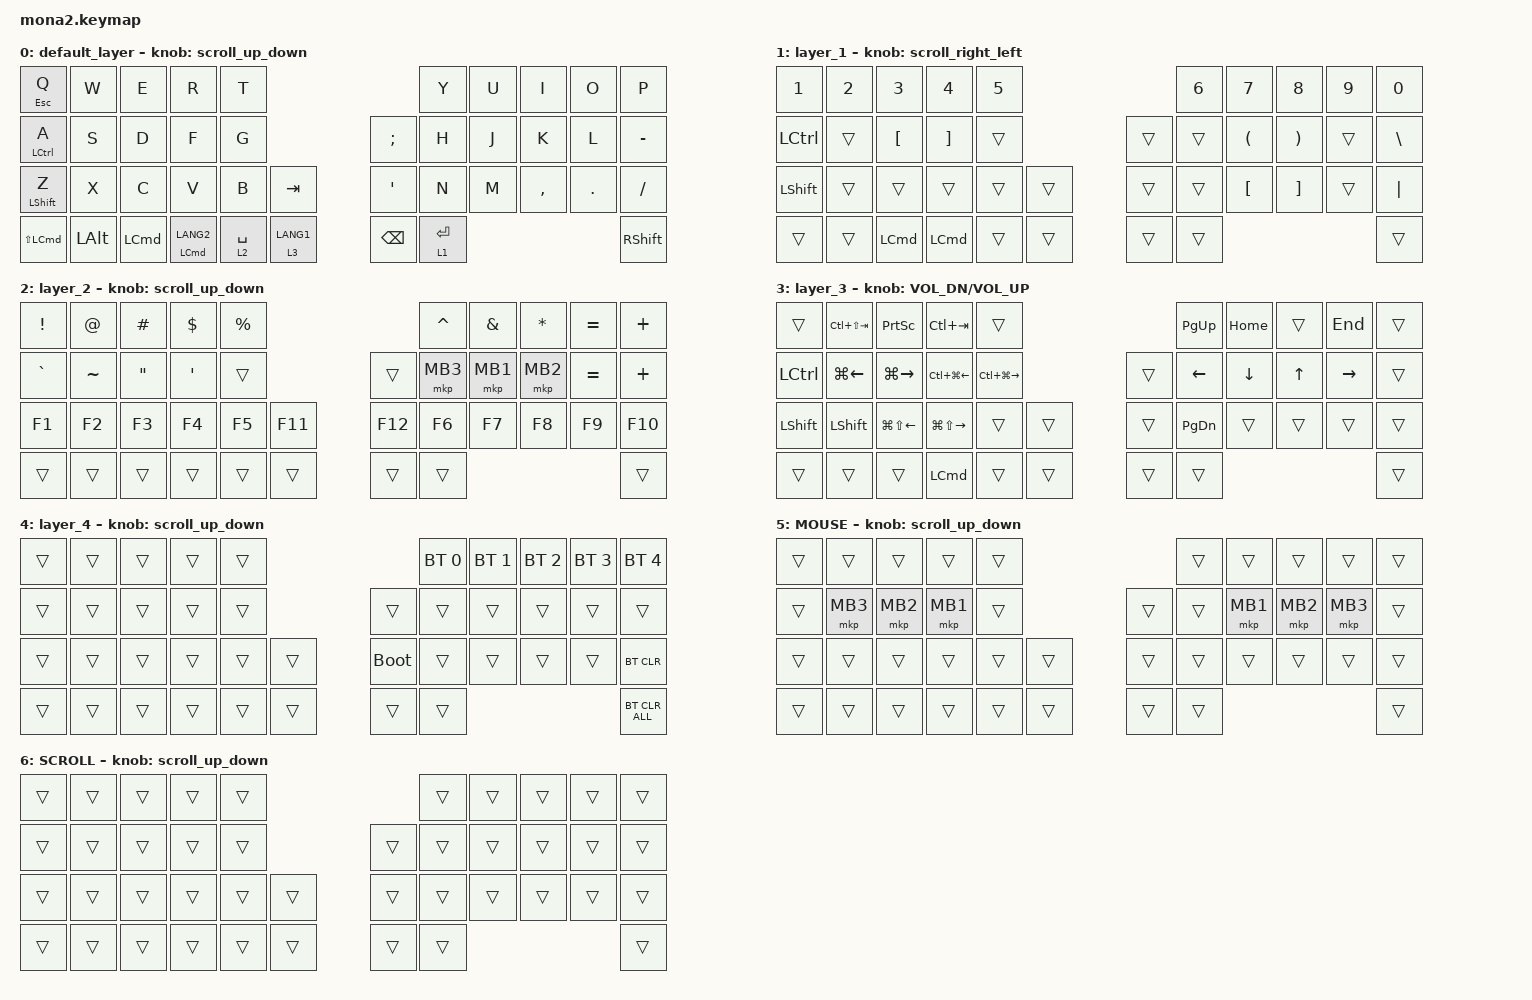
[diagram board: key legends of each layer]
#include <input/processors.dtsi>
#include <dt-bindings/zmk/input_transform.h>
#include <zephyr/dt-bindings/input/input-event-codes.h>
#include <behaviors.dtsi>
#include <dt-bindings/zmk/bt.h>
#include <dt-bindings/zmk/keys.h>
#include <dt-bindings/zmk/pointing.h>

#define ZMK_POINTING_DEFAULT_SCRL_VAL 100
#define MOUSE 5
#define SCROLL 6

&mt {
    flavor = "balanced";
    quick-tap-ms = <0>;
};

&lt {
    quick-tap-ms = <300>;
    flavor = "balanced";
};

/ {
    combos {
        compatible = "zmk,combos";

        layer4_ESC {
            bindings = <&lt 4 ESC>;
            key-positions = <39 38>;
        };

        tab {
            bindings = <&kp TAB>;
            key-positions = <11 12>;
        };
    };

    macros {
        to_layer_0: to_layer_0 {
            compatible = "zmk,behavior-macro-one-param";
            #binding-cells = <1>;
            bindings = <&to 0 &macro_param_1to1 &kp MACRO_PLACEHOLDER>;
            label = "TO_LAYER_0";
        };
    };

    behaviors {
        lt_to_layer_0: lt_to_layer_0 {
            compatible = "zmk,behavior-hold-tap";
            label = "LAYER_TAP_TO_0";
            bindings = <&mo>, <&to_layer_0>;

            #binding-cells = <2>;
            tapping-term-ms = <200>;
        };

        scroll_up_down: mouse_wheel_up_down {
            compatible = "zmk,behavior-sensor-rotate";
            #sensor-binding-cells = <0>;
            bindings = <&msc SCRL_DOWN>, <&msc SCRL_UP>;

            tap-ms = <20>;
        };

        scroll_right_left: mouse_wheel_right_left {
            compatible = "zmk,behavior-sensor-rotate";
            #sensor-binding-cells = <0>;
            bindings = <&msc SCRL_LEFT>, <&msc SCRL_RIGHT>;

            tap-ms = <20>;
        };
    };

    keymap {
        compatible = "zmk,keymap";

        default_layer {
            bindings = <
&mt ESC Q             &kp W         &kp E             &kp R                   &kp T                                                    &kp Y        &kp U  &kp I      &kp O    &kp P
&mt LEFT_CONTROL A    &kp S         &kp D             &kp F                   &kp G                                  &kp SEMI          &kp H        &kp J  &kp K      &kp L    &kp MINUS
&mt LEFT_SHIFT Z      &kp X         &kp C             &kp V                   &kp B        &kp TAB                   &kp SINGLE_QUOTE  &kp N        &kp M  &kp COMMA  &kp DOT  &kp SLASH
&kp LS(LEFT_COMMAND)  &kp LEFT_ALT  &kp LEFT_COMMAND  &mt LEFT_COMMAND LANG2  &lt 2 SPACE  &lt_to_layer_0 3 LANG1    &kp BACKSPACE     &lt 1 ENTER                             &kp RIGHT_SHIFT
            >;

            sensor-bindings = <&scroll_up_down>;
        };

        layer_1 {
            bindings = <
&kp NUMBER_1    &kp NUMBER_2  &kp NUMBER_3      &kp NUMBER_4       &kp NUMBER_5                    &kp NUMBER_6  &kp NUMBER_7          &kp NUMBER_8           &kp NUMBER_9  &kp NUMBER_0
&kp LCTRL       &trans        &kp LEFT_BRACKET  &kp RIGHT_BRACKET  &trans                  &trans  &trans        &kp LEFT_PARENTHESIS  &kp RIGHT_PARENTHESIS  &trans        &kp BACKSLASH
&kp LEFT_SHIFT  &trans        &trans            &trans             &trans        &trans    &trans  &trans        &kp LEFT_BRACKET      &kp RIGHT_BRACKET      &trans        &kp PIPE
&trans          &trans        &kp LEFT_COMMAND  &kp LEFT_COMMAND   &trans        &trans    &trans  &trans                                                                   &trans
            >;

            sensor-bindings = <&scroll_right_left>;
        };

        layer_2 {
            bindings = <
&kp EXCLAMATION  &kp AT_SIGN  &kp POUND          &kp DOLLAR  &kp PERCENT                      &kp CARET  &kp AMPERSAND  &kp ASTERISK  &kp EQUAL  &kp PLUS
&kp GRAVE        &kp TILDE    &kp DOUBLE_QUOTES  &kp SQT     &trans                  &trans   &mkp MB3   &mkp MB1       &mkp MB2      &kp EQUAL  &kp PLUS
&kp F1           &kp F2       &kp F3             &kp F4      &kp F5       &kp F11    &kp F12  &kp F6     &kp F7         &kp F8        &kp F9     &kp F10
&trans           &trans       &trans             &trans      &trans       &trans     &trans   &trans                                             &trans
            >;

            sensor-bindings = <&scroll_up_down>;
        };

        layer_3 {
            bindings = <
&trans            &kp LC(LS(TAB))     &kp PRINTSCREEN         &kp LC(TAB)              &trans                                     &kp PAGE_UP     &kp HOME        &trans        &kp END          &trans
&kp LEFT_CONTROL  &kp LG(LEFT_ARROW)  &kp LG(RIGHT_ARROW)     &kp LC(LG(LEFT_ARROW))   &kp LC(LG(RIGHT_ARROW))            &trans  &kp LEFT_ARROW  &kp DOWN_ARROW  &kp UP_ARROW  &kp RIGHT_ARROW  &trans
&kp LEFT_SHIFT    &kp LEFT_SHIFT      &kp LG(LS(LEFT_ARROW))  &kp LG(LS(RIGHT_ARROW))  &trans                   &trans    &trans  &kp PAGE_DOWN   &trans          &trans        &trans           &trans
&trans            &trans              &trans                  &kp LEFT_COMMAND         &trans                   &trans    &trans  &trans                                                         &trans
            >;

            sensor-bindings = <&inc_dec_kp C_VOL_DN C_VOL_UP>;
        };

        layer_4 {
            bindings = <
&trans  &trans  &trans  &trans  &trans                         &bt BT_SEL 0  &bt BT_SEL 1  &bt BT_SEL 2  &bt BT_SEL 3  &bt BT_SEL 4
&trans  &trans  &trans  &trans  &trans            &trans       &trans        &trans        &trans        &trans        &trans
&trans  &trans  &trans  &trans  &trans  &trans    &bootloader  &trans        &trans        &trans        &trans        &bt BT_CLR
&trans  &trans  &trans  &trans  &trans  &trans    &trans       &trans                                                  &bt BT_CLR_ALL
            >;

            sensor-bindings = <&scroll_up_down>;
        };

        MOUSE {
            bindings = <
&trans  &trans    &trans    &trans    &trans                    &trans  &trans    &trans    &trans    &trans
&trans  &mkp MB3  &mkp MB2  &mkp MB1  &trans            &trans  &trans  &mkp MB1  &mkp MB2  &mkp MB3  &trans
&trans  &trans    &trans    &trans    &trans  &trans    &trans  &trans  &trans    &trans    &trans    &trans
&trans  &trans    &trans    &trans    &trans  &trans    &trans  &trans                                &trans
            >;

            sensor-bindings = <&scroll_up_down>;
        };

        SCROLL {
            bindings = <
&trans  &trans  &trans  &trans  &trans                    &trans  &trans  &trans  &trans  &trans
&trans  &trans  &trans  &trans  &trans            &trans  &trans  &trans  &trans  &trans  &trans
&trans  &trans  &trans  &trans  &trans  &trans    &trans  &trans  &trans  &trans  &trans  &trans
&trans  &trans  &trans  &trans  &trans  &trans    &trans  &trans                          &trans
            >;

            sensor-bindings = <&scroll_up_down>;
        };
    };
};
